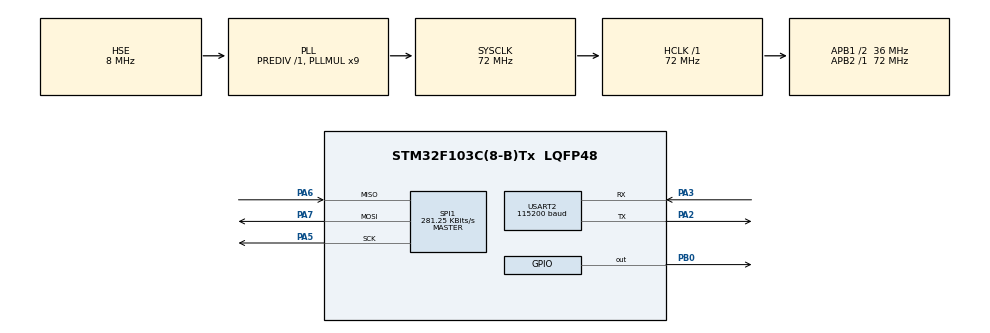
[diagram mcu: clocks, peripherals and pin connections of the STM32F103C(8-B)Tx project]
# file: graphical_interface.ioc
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Mcu.Family=STM32F1
Mcu.Name=STM32F103C(8-B)Tx
Mcu.Package=LQFP48
NVIC.PriorityGroup=NVIC_PRIORITYGROUP_4
NVIC.SPI1_IRQn=true\:0\:0\:false\:false\:true\:true\:true\:true
NVIC.USART2_IRQn=true\:0\:0\:false\:false\:true\:true\:true\:true
PA13.Mode=Serial_Wire
PA13.Signal=SYS_JTMS-SWDIO
PA14.Mode=Serial_Wire
PA14.Signal=SYS_JTCK-SWCLK
PA2.Mode=Asynchronous
PA2.Signal=USART2_TX
PA3.Mode=Asynchronous
PA3.Signal=USART2_RX
PA5.Mode=Full_Duplex_Master
PA5.Signal=SPI1_SCK
PA6.Mode=Full_Duplex_Master
PA6.Signal=SPI1_MISO
PA7.Mode=Full_Duplex_Master
PA7.Signal=SPI1_MOSI
PB0.Signal=GPIO_Output
PD0-OSC_IN.Mode=HSE-External-Oscillator
PD0-OSC_IN.Signal=RCC_OSC_IN
PD1-OSC_OUT.Mode=HSE-External-Oscillator
PD1-OSC_OUT.Signal=RCC_OSC_OUT
ProjectManager.HeapSize=0x200
ProjectManager.StackSize=0x400
ProjectManager.TargetToolchain=STM32CubeIDE
RCC.AHBFreq_Value=72000000
RCC.APB1CLKDivider=RCC_HCLK_DIV2
RCC.APB1Freq_Value=36000000
RCC.APB1TimFreq_Value=72000000
RCC.APB2Freq_Value=72000000
RCC.APB2TimFreq_Value=72000000
RCC.HCLKFreq_Value=72000000
RCC.PLLMUL=RCC_PLL_MUL9
RCC.PLLSourceVirtual=RCC_PLLSOURCE_HSE
RCC.SYSCLKFreq_VALUE=72000000
RCC.SYSCLKSource=RCC_SYSCLKSOURCE_PLLCLK
RCC.USBFreq_Value=72000000
SPI1.BaudRatePrescaler=SPI_BAUDRATEPRESCALER_256
SPI1.CalculateBaudRate=281.25 KBits/s
SPI1.Direction=SPI_DIRECTION_2LINES
SPI1.Mode=SPI_MODE_MASTER
SPI1.VirtualType=VM_MASTER
USART2.BaudRate=115200
USART2.VirtualMode=VM_ASYNC
board=custom

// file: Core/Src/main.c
/* USER CODE BEGIN Header */
/**
  ******************************************************************************
  * @file           : main.c
  * @brief          : Main program body
  ******************************************************************************
  * @attention
  *
  * Copyright (c) 2023 STMicroelectronics.
  * All rights reserved.
  *
  * This software is licensed under terms that can be found in the LICENSE file
  * in the root directory of this software component.
  * If no LICENSE file comes with this software, it is provided AS-IS.
  *
  ******************************************************************************
  */
/* USER CODE END Header */
#include "main.h"

SPI_HandleTypeDef hspi1;

UART_HandleTypeDef huart2;

void SystemClock_Config(void);
static void MX_GPIO_Init(void);
static void MX_SPI1_Init(void);
static void MX_USART2_UART_Init(void);

/* USER CODE BEGIN 0 */

extern FRAM_STATES FRAM_state;
/* USER CODE END 0 */

int main(void)
{

  /* MCU Configuration--------------------------------------------------------*/

  /* Reset of all peripherals, Initializes the Flash interface and the Systick. */
  HAL_Init();

  /* Configure the system clock */
  SystemClock_Config();

  /* Initialize all configured peripherals */
  MX_GPIO_Init();
  MX_SPI1_Init();
  MX_USART2_UART_Init();
  /* USER CODE BEGIN 2 */

  // Enviar byte 0x01 para iniciar a recepção de dados
  extern uint32_t DATA_FRAM[4];
  extern uint8_t receiv_Data[16];
  extern uint8_t send_Data1[4];
  extern uint8_t send_Data2[4];
  extern uint8_t send_Data3[4];
  extern uint8_t send_Data4[4];

  uint16_t address = 0x0000;
  FRAM_state = FRAM_READ_COMMAND;
/*
  HAL_GPIO_WritePin(GPIOB, GPIO_PIN_0, GPIO_PIN_RESET);
  uint8_t cmd[3] = {0x03, 0x00, 0x00 };
  HAL_SPI_Transmit(&hspi1, (uint8_t *)&cmd, 3 ,1000);
  HAL_SPI_Receive(&hspi1, receiv_Data, 16, 1000);
  HAL_GPIO_WritePin(GPIOB, GPIO_PIN_0, GPIO_PIN_SET);

  HAL_GPIO_WritePin(GPIOB, GPIO_PIN_0, GPIO_PIN_RESET);
  uint8_t cmd1[3] = {0x03, 0x00, 0x10 };
  HAL_SPI_Transmit(&hspi1, (uint8_t *)&cmd1, 3 ,1000);
  HAL_SPI_Receive(&hspi1, receiv_Data, 16, 1000);
  HAL_GPIO_WritePin(GPIOB, GPIO_PIN_0, GPIO_PIN_SET);

  HAL_GPIO_WritePin(GPIOB, GPIO_PIN_0, GPIO_PIN_RESET);
  uint8_t cmd2[3] = {0x03, 0x00, 0x20 };
  HAL_SPI_Transmit(&hspi1, (uint8_t *)&cmd2, 3 ,1000);
  HAL_SPI_Receive(&hspi1, receiv_Data, 16, 1000);
  HAL_GPIO_WritePin(GPIOB, GPIO_PIN_0, GPIO_PIN_SET);

  HAL_GPIO_WritePin(GPIOB, GPIO_PIN_0, GPIO_PIN_RESET);
  uint8_t cmd3[3] = {0x03, 0x00, 0x30 };
  HAL_SPI_Transmit(&hspi1, (uint8_t *)&cmd3, 3 ,1000);
  HAL_SPI_Receive(&hspi1, receiv_Data, 16, 1000);
  HAL_GPIO_WritePin(GPIOB, GPIO_PIN_0, GPIO_PIN_SET);

  HAL_GPIO_WritePin(GPIOB, GPIO_PIN_0, GPIO_PIN_RESET);
  uint8_t cmd4[3] = {0x03, 0x00, 0x40 };
  HAL_SPI_Transmit(&hspi1, (uint8_t *)&cmd4, 3 ,1000);
  HAL_SPI_Receive(&hspi1, receiv_Data, 16, 1000);
  HAL_GPIO_WritePin(GPIOB, GPIO_PIN_0, GPIO_PIN_SET);
*/
  /* USER CODE END 2 */

  /* Infinite loop */
  /* USER CODE BEGIN WHILE */

while (1) {
	  switch(FRAM_state)
	{
		case FRAM_READ_COMMAND:
			FRAM_state = WAIT_FRAM_READ_COMMAND;
			HAL_Delay(4000);
			FRAM_Read_Command(address);
			break;
		case FRAM_READ:
			//memset(receiv_Data, 0x00, 16);
			FRAM_state = WAIT_FRAM_READ;
			FRAM_Read(receiv_Data, 16);
			address += 0x10;
		break;

		case FRAM_IDLE:
			HAL_UART_Transmit(&huart2, send_Data1, 4, 1000);
			HAL_UART_Transmit(&huart2, send_Data2, 4, 1000);
			HAL_UART_Transmit(&huart2, send_Data3, 4, 1000);
			HAL_UART_Transmit(&huart2, send_Data4, 4, 1000);
			FRAM_state = FRAM_READ_COMMAND;
		break;

		default:
			break;
	}
    /* USER CODE END WHILE */

}
}

void SystemClock_Config(void)
{
  RCC_OscInitTypeDef RCC_OscInitStruct = {0};
  RCC_ClkInitTypeDef RCC_ClkInitStruct = {0};

  /** Initializes the RCC Oscillators according to the specified parameters
  * in the RCC_OscInitTypeDef structure.
  */
  RCC_OscInitStruct.OscillatorType = RCC_OSCILLATORTYPE_HSE;
  RCC_OscInitStruct.HSEState = RCC_HSE_ON;
  RCC_OscInitStruct.HSEPredivValue = RCC_HSE_PREDIV_DIV1;
  RCC_OscInitStruct.HSIState = RCC_HSI_ON;
  RCC_OscInitStruct.PLL.PLLState = RCC_PLL_ON;
  RCC_OscInitStruct.PLL.PLLSource = RCC_PLLSOURCE_HSE;
  RCC_OscInitStruct.PLL.PLLMUL = RCC_PLL_MUL9;
  if (HAL_RCC_OscConfig(&RCC_OscInitStruct) != HAL_OK)
  {
    Error_Handler();
  }

  /** Initializes the CPU, AHB and APB buses clocks
  */
  RCC_ClkInitStruct.ClockType = RCC_CLOCKTYPE_HCLK|RCC_CLOCKTYPE_SYSCLK
                              |RCC_CLOCKTYPE_PCLK1|RCC_CLOCKTYPE_PCLK2;
  RCC_ClkInitStruct.SYSCLKSource = RCC_SYSCLKSOURCE_PLLCLK;
  RCC_ClkInitStruct.AHBCLKDivider = RCC_SYSCLK_DIV1;
  RCC_ClkInitStruct.APB1CLKDivider = RCC_HCLK_DIV2;
  RCC_ClkInitStruct.APB2CLKDivider = RCC_HCLK_DIV1;

  if (HAL_RCC_ClockConfig(&RCC_ClkInitStruct, FLASH_LATENCY_2) != HAL_OK)
  {
    Error_Handler();
  }
}

static void MX_SPI1_Init(void)
{

  /* SPI1 parameter configuration*/
  hspi1.Instance = SPI1;
  hspi1.Init.Mode = SPI_MODE_MASTER;
  hspi1.Init.Direction = SPI_DIRECTION_2LINES;
  hspi1.Init.DataSize = SPI_DATASIZE_8BIT;
  hspi1.Init.CLKPolarity = SPI_POLARITY_LOW;
  hspi1.Init.CLKPhase = SPI_PHASE_1EDGE;
  hspi1.Init.NSS = SPI_NSS_SOFT;
  hspi1.Init.BaudRatePrescaler = SPI_BAUDRATEPRESCALER_256;
  hspi1.Init.FirstBit = SPI_FIRSTBIT_MSB;
  hspi1.Init.TIMode = SPI_TIMODE_DISABLE;
  hspi1.Init.CRCCalculation = SPI_CRCCALCULATION_DISABLE;
  hspi1.Init.CRCPolynomial = 10;
  if (HAL_SPI_Init(&hspi1) != HAL_OK)
  {
    Error_Handler();
  }

}

static void MX_USART2_UART_Init(void)
{

  huart2.Instance = USART2;
  huart2.Init.BaudRate = 115200;
  huart2.Init.WordLength = UART_WORDLENGTH_8B;
  huart2.Init.StopBits = UART_STOPBITS_1;
  huart2.Init.Parity = UART_PARITY_NONE;
  huart2.Init.Mode = UART_MODE_TX_RX;
  huart2.Init.HwFlowCtl = UART_HWCONTROL_NONE;
  huart2.Init.OverSampling = UART_OVERSAMPLING_16;
  if (HAL_UART_Init(&huart2) != HAL_OK)
  {
    Error_Handler();
  }

}

static void MX_GPIO_Init(void)
{
  GPIO_InitTypeDef GPIO_InitStruct = {0};

  /* GPIO Ports Clock Enable */
  __HAL_RCC_GPIOD_CLK_ENABLE();
  __HAL_RCC_GPIOA_CLK_ENABLE();
  __HAL_RCC_GPIOB_CLK_ENABLE();

  /*Configure GPIO pin Output Level */
  HAL_GPIO_WritePin(GPIOB, GPIO_PIN_0, GPIO_PIN_RESET);

  /*Configure GPIO pin : PB0 */
  GPIO_InitStruct.Pin = GPIO_PIN_0;
  GPIO_InitStruct.Mode = GPIO_MODE_OUTPUT_PP;
  GPIO_InitStruct.Pull = GPIO_NOPULL;
  GPIO_InitStruct.Speed = GPIO_SPEED_FREQ_LOW;
  HAL_GPIO_Init(GPIOB, &GPIO_InitStruct);

}

void Error_Handler(void)
{
  __disable_irq();
  while (1)
  {
  }
}
